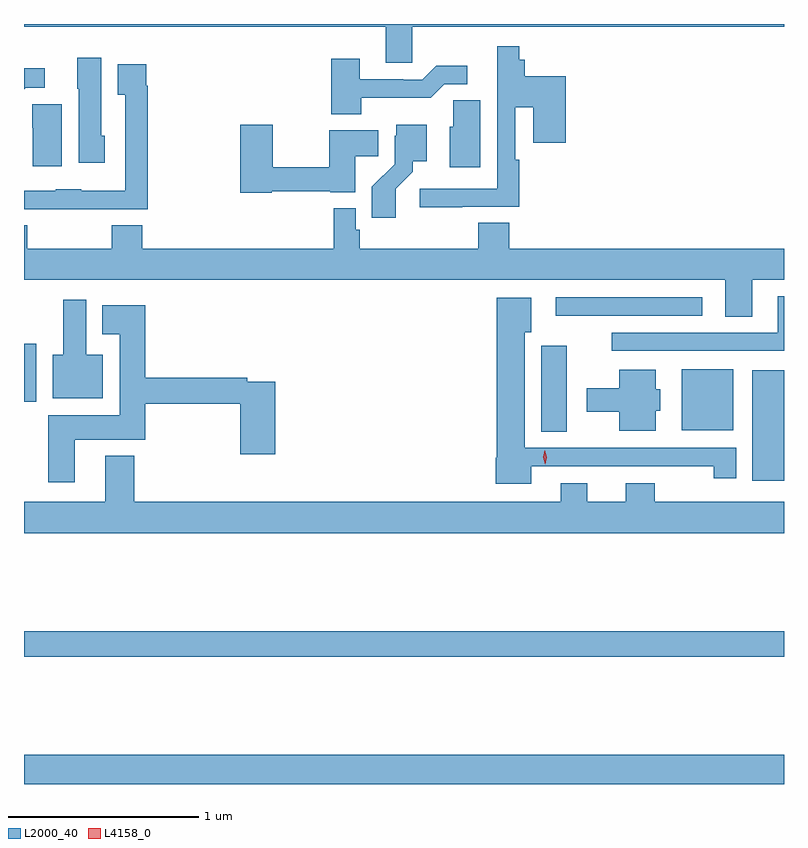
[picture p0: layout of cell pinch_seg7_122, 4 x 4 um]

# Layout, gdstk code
import gdstk
lib = gdstk.Library(unit=1e-6, precision=1e-09)
def R(c, l, rs):  # rectangles x0, y0, x1, y1
    for r in rs: c.add(gdstk.rectangle(r[:2], r[2:], *l))
def P(c, l, *ps):  # polygons
    for p in ps: c.add(gdstk.Polygon(p, *l))
L2000_40 = (2000, 40)
L4158_0 = (4158, 0)

pinch_seg7_122 = lib.new_cell('pinch_seg7_122')
R(pinch_seg7_122, L2000_40, [(969.387,1008.619,973.387,1008.772), (969.387,1009.288,973.387,1009.424), (973.22,1010.216,973.387,1010.797), (972.11,1010.473,972.244,1010.926), (972.848,1010.48,973.12,1010.803), (969.387,1010.63,969.451,1010.935), (972.186,1011.084,972.958,1011.18)])
P(pinch_seg7_122, L2000_40, [(971.43,1012.604),(973.387,1012.604),(973.387,1012.619),(969.387,1012.619),(969.387,1012.604),(971.291,1012.604),(971.291,1012.414),(971.43,1012.414)],
  [(971.693,1011.657),(971.993,1011.657),(971.993,1011.905),(971.973,1011.905),(971.973,1012.181),(972.068,1012.181),(972.068,1011.993),(972.239,1011.993),(972.239,1012.345),(972.023,1012.345),(972.023,1012.432),(971.993,1012.432),(971.993,1012.501),(971.877,1012.501),(971.877,1011.753),(971.469,1011.753),(971.469,1011.655),(971.693,1011.655)],
  [(969.811,1012.032),(969.793,1012.032),(969.793,1012.441),(969.668,1012.441),(969.668,1012.278),(969.674,1012.278),(969.674,1011.888),(969.811,1011.888)],
  [(971.163,1012.232),(971.527,1012.232),(971.598,1012.302),(971.719,1012.302),(971.719,1012.399),(971.557,1012.399),(971.484,1012.326),(971.384,1012.326),(971.384,1012.329),(971.155,1012.329),(971.155,1012.435),(971.003,1012.435),(971.003,1012.145),(971.163,1012.145)],
  [(969.787,1011.645),(970.037,1011.645),(970.037,1012.295),(970.03,1012.295),(970.03,1012.408),(969.881,1012.408),(969.881,1012.247),(969.921,1012.247),(969.921,1011.742),(969.687,1011.742),(969.687,1011.748),(969.555,1011.748),(969.555,1011.741),(969.387,1011.741),(969.387,1011.645),(969.555,1011.645),(969.555,1011.644),(969.787,1011.644)],
  [(969.396,1012.284),(969.496,1012.284),(969.496,1012.387),(969.387,1012.387),(969.387,1012.275)],
  [(971.788,1012.217),(971.646,1012.217),(971.646,1012.077),(971.627,1012.077),(971.627,1011.864),(971.788,1011.864)],
  [(969.586,1012.197),(969.43,1012.197),(969.43,1012.074),(969.434,1012.074),(969.434,1011.87),(969.586,1011.87)],
  [(971.344,1011.751),(971.434,1011.841),(971.434,1011.896),(971.506,1011.896),(971.506,1012.09),(971.345,1012.09),(971.345,1012.032),(971.337,1012.032),(971.337,1011.881),(971.218,1011.762),(971.218,1011.6),(971.344,1011.6)],
  [(970.692,1011.738),(970.998,1011.738),(970.998,1011.734),(971.131,1011.734),(971.131,1011.922),(971.252,1011.922),(971.252,1012.06),(970.994,1012.06),(970.994,1011.866),(970.696,1011.866),(970.696,1012.09),(970.526,1012.09),(970.526,1011.73),(970.692,1011.73)],
  [(973.219,1011.272),(973.387,1011.272),(973.387,1011.436),(971.942,1011.436),(971.942,1011.572),(971.777,1011.572),(971.777,1011.436),(971.153,1011.436),(971.153,1011.537),(971.133,1011.537),(971.133,1011.649),(971.017,1011.649),(971.017,1011.436),(970.01,1011.436),(970.01,1011.56),(969.85,1011.56),(969.85,1011.436),(969.405,1011.436),(969.405,1011.56),(969.387,1011.56),(969.387,1011.272),(973.079,1011.272),(973.079,1011.079),(973.219,1011.079)],
  [(973.387,1011.187),(973.355,1011.187),(973.355,1010.994),(972.48,1010.994),(972.48,1010.898),(973.387,1010.898)],
  [(972.058,1010.292),(972.79,1010.292),(972.79,1010.291),(973.018,1010.291),(973.018,1010.229),(973.135,1010.229),(973.135,1010.388),(972.022,1010.388),(972.022,1010.996),(972.058,1010.996),(972.058,1011.178),(971.876,1011.178),(971.876,1010.337),(971.87,1010.337),(971.87,1010.198),(972.058,1010.198)],
  [(969.802,1010.878),(969.715,1010.878),(969.715,1011.169),(969.593,1011.169),(969.593,1010.878),(969.539,1010.878),(969.539,1010.648),(969.802,1010.648)],
  [(969.655,1010.432),(970.025,1010.432),(970.025,1010.62),(970.526,1010.62),(970.526,1010.355),(970.709,1010.355),(970.709,1010.736),(970.562,1010.736),(970.562,1010.756),(970.025,1010.756),(970.025,1011.139),(969.8,1011.139),(969.8,1010.987),(969.89,1010.987),(969.89,1010.56),(969.515,1010.56),(969.515,1010.208),(969.655,1010.208)],
  [(972.712,1010.583),(972.736,1010.583),(972.736,1010.697),(972.712,1010.697),(972.712,1010.8),(972.521,1010.8),(972.521,1010.701),(972.348,1010.701),(972.348,1010.579),(972.521,1010.579),(972.521,1010.477),(972.712,1010.477)],
  [(973.387,1010.104),(972.707,1010.104),(972.707,1010.203),(972.554,1010.203),(972.554,1010.104),(972.352,1010.104),(972.352,1010.203),(972.212,1010.203),(972.212,1010.104),(969.968,1010.104),(969.968,1010.347),(969.815,1010.347),(969.815,1010.104),(969.387,1010.104),(969.387,1009.94),(973.387,1009.94)])
P(pinch_seg7_122, L4158_0, [(972.13,1010.303),(972.13,1010.303),(972.119,1010.339),(972.128,1010.375),(972.128,1010.375),(972.128,1010.375),(972.139,1010.339),(972.13,1010.303)])

lib.write_gds('pinch_seg7_122.gds')
